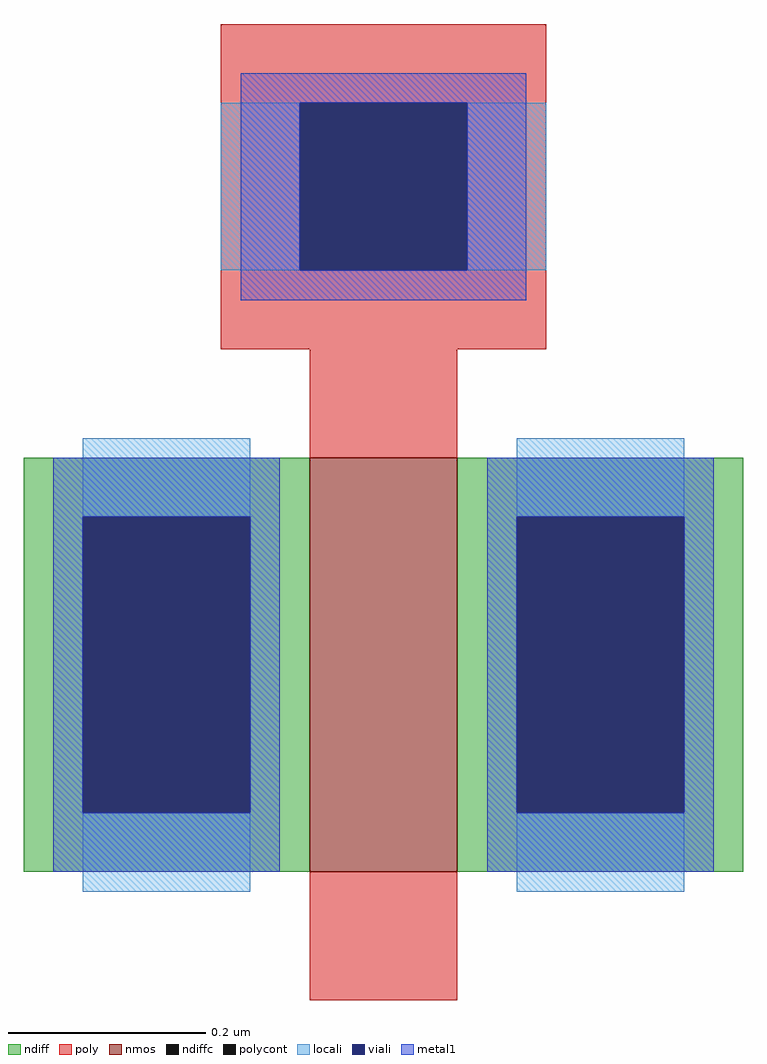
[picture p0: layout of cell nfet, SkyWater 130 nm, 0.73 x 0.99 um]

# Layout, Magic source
magic
tech sky130A
magscale 1 2
<< nmos >>
rect -15 -73 15 11
<< ndiff >>
rect -73 -1 -15 11
rect -73 -61 -61 -1
rect -27 -61 -15 -1
rect -73 -73 -15 -61
rect 15 -1 73 11
rect 15 -61 27 -1
rect 61 -61 73 -1
rect 15 -73 73 -61
<< ndiffc >>
rect -61 -61 -27 -1
rect 27 -61 61 -1
<< poly >>
rect -33 83 33 99
rect -33 49 -17 83
rect 17 49 33 83
rect -33 33 33 49
rect -15 11 15 33
rect -15 -99 15 -73
<< polycont >>
rect -17 49 17 83
<< locali >>
rect -33 49 -17 83
rect 17 49 33 83
rect -61 -1 -27 15
rect -61 -77 -27 -61
rect 27 -1 61 15
rect 27 -77 61 -61
<< viali >>
rect -17 49 17 83
rect -61 -61 -27 -1
rect 27 -61 61 -1
<< metal1 >>
rect -29 83 29 89
rect -29 49 -17 83
rect 17 49 29 83
rect -29 43 29 49
rect -67 -1 -21 11
rect -67 -61 -61 -1
rect -27 -61 -21 -1
rect -67 -73 -21 -61
rect 21 -1 67 11
rect 21 -61 27 -1
rect 61 -61 67 -1
rect 21 -73 67 -61
<< end >>
